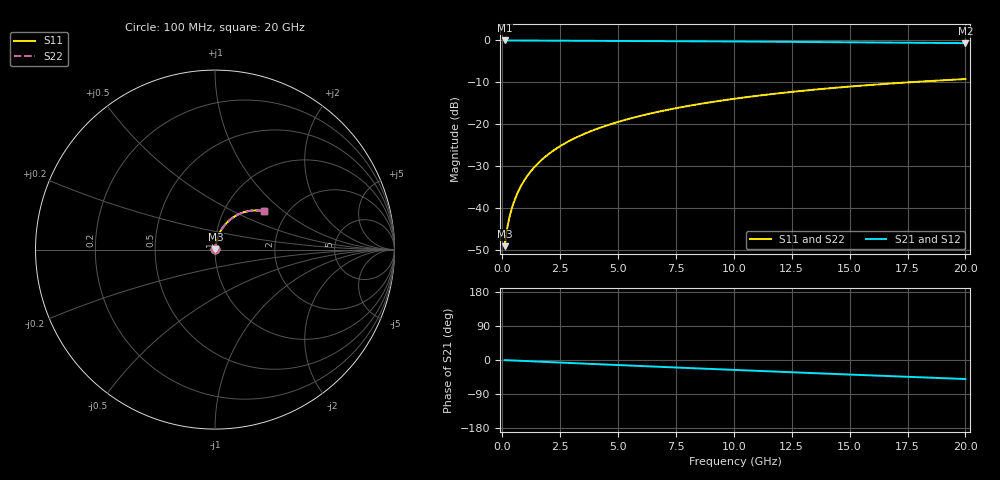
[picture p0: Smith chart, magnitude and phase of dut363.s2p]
! Touchstone file exported from HFSS 2026.1.0
!  File:  C:/ffzhzh/LocalFiles/Ansys_Project_Files/temp_train_TMRDL_363_1783004211_51716.aedt
!  Generated:  10:58:44 PM Jul  2, 2026
!  Design:  TMRDL
!  Project:  temp_train_TMRDL_363_1783004211_51716
! Variables:
!  h_bsmrdl = 2um
!  h_ox = 20um
!  h_rdl = 5um
!  h_sub = 80um
!  h_tmrdl = 4.43um
!  h_tsv = 80um
!  h_via = 3um
!  l_bsmrdl = 300um
!  l_sub = 1203.22um
!  l_tmrdl = 803.22um
!  m_sub = 200um
!  pitch = 50.68um
!  r_tsv = 6um
!  s_tmrdl = 10um
!  w_bsmrdl = 18um
!  w_sub = 500um
!  w_tmrdl = 29.11um
!  x_tsv_center1 = 817.775um
!  x_tsv_center2 = 1135.775um
!  x_tsv_center3 = 1968.105um
!  x_tsv_center4 = 2286.105um
!  x_tsv_center5 = 3118.435um
!  x_tsv_center6 = 3436.435um
# GHz S MA R 50.000000
! Terminal data exported
! Port[1] = TM_RDL1_1_T1
! Port[2] = TM_RDL1_1_T2
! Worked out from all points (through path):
!   200 points, 100 MHz to 20 GHz, reference 50 ohm
!   highest |S21| = -0.02 dB at 100 MHz (marker M1); lowest = -0.7 dB at 20 GHz (marker M2)
!   group delay of S21, straight-line fit = 6.97 ps
!   lowest |S11| = -49.0 dB at 100 MHz (marker M3), VSWR 1.01, Z = 50.2 + j0.254 ohm
!   |S11| at or under -10 dB: start of sweep to 17.52 GHz
!   |S22| runs from -49.0 to -9.2 dB; largest |S21 - S12| = 6.3e-15
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0.1  0.003539 45.5  0.9975 -0.3  0.9975 -0.3  0.003539 45.5
! Gamma 0 0 0 0
! Port Impedance 50 0 50 0
0.2  0.00557 60.3  0.9973 -0.6  0.9973 -0.6  0.00557 60.3
0.3  0.007641 66.9  0.9971 -0.8  0.9971 -0.8  0.007641 66.9
0.4  0.009721 70.8  0.9969 -1.1  0.9969 -1.1  0.009721 70.8
0.5  0.01182 73.4  0.9968 -1.4  0.9968 -1.4  0.01182 73.4
0.6  0.01394 75.3  0.9968 -1.6  0.9968 -1.6  0.01394 75.3
0.8  0.01823 77.5  0.9966 -2.2  0.9966 -2.2  0.01823 77.5
1.1  0.02472 79.1  0.9963 -3.0  0.9963 -3.0  0.02472 79.1
1.5  0.03341 79.7  0.9958 -4.1  0.9958 -4.1  0.03341 79.7
1.8  0.03991 79.7  0.9954 -4.9  0.9954 -4.9  0.03991 79.7
2.1  0.04639 79.4  0.9949 -5.7  0.9949 -5.7  0.04639 79.4
2.7  0.05924 78.4  0.9938 -7.3  0.9938 -7.3  0.05925 78.4
3.5  0.07612 76.8  0.992 -9.4  0.992 -9.4  0.07612 76.8
4.2  0.09062 75.2  0.9902 -11.3  0.9902 -11.3  0.09062 75.2
5  0.1069 73.3  0.988 -13.3  0.988 -13.3  0.1069 73.3
5.9  0.1248 71.1  0.9852 -15.7  0.9852 -15.7  0.1248 71.1
6.8  0.1423 68.9  0.9823 -18.0  0.9823 -18.0  0.1423 69.0
8.3  0.1706 65.3  0.9769 -21.9  0.9769 -21.9  0.1706 65.4
10.1  0.203 61.0  0.97 -26.4  0.97 -26.4  0.203 61.0
13.4  0.2576 53.2  0.956 -34.6  0.956 -34.6  0.2576 53.2
16.7  0.3054 45.5  0.9412 -42.5  0.9412 -42.5  0.3054 45.6
20  0.346 38.0  0.9268 -50.2  0.9268 -50.2  0.346 38.1
